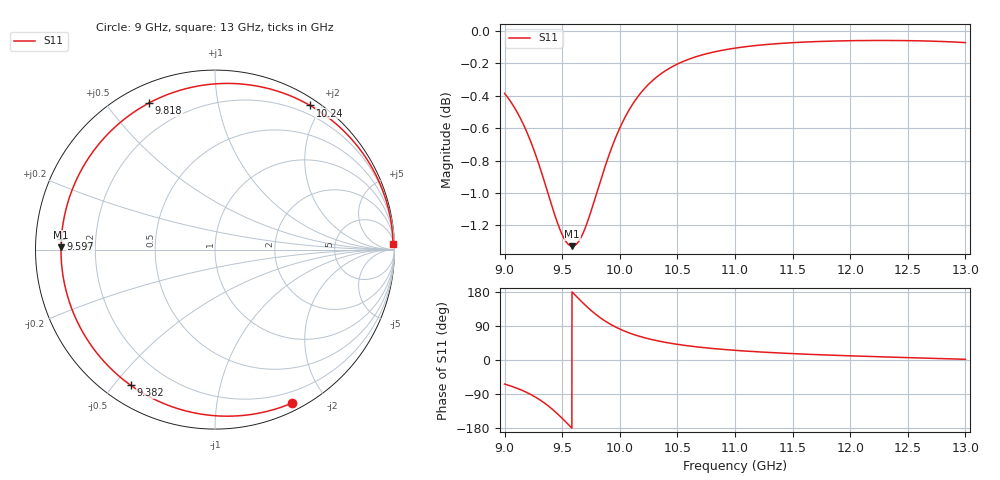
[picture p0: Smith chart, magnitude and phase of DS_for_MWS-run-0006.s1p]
! TOUCHSTONE file generated by CST DESIGN STUDIO
! Date and time: Tue Feb  4 17:15:59 2025
! Project name: C:\Work\MatlabApps\UnitCellOptimizationMatlab\CST\unitcell.cst
! Tree item: Tasks\Sweep1\SPara1\S-Parameters
! Header version: 2024
! Port assignment regex: !\s*Touchstone port\s*([0-9]+)\s*=\s*(CST MWS port|CST DES external port|CST DES block port)\s*(.+)\s* \(\"(.*)\"\)(\s*mode\s*([0-9]+))?.*
! Touchstone port assignment:
! Touchstone port 1 = CST DES external port 1 ("")
# GHz S MA R 50
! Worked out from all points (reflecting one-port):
!   4001 points, 9 GHz to 13 GHz, reference 50 ohm
!   lowest |S11| = -1.3 dB at 9.587 GHz (marker M1), VSWR 13.11, Z = 3.81 + j0.353 ohm
!   phase of S11 starts at -64 deg and turns -295 deg over the sweep
!   S11 on the Smith chart (normalised r, x): 9 GHz: 0.08, -1.61; 9.382 GHz: 0.08, -0.55; 9.597 GHz: 0.08, +0.03; 9.818 GHz: 0.08, +0.64; 10.24 GHz: 0.09, +1.86; 13 GHz: 16, +59
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9  0.9566 -63.5
9.046  0.9517 -67.9
9.114  0.9431 -75.3
9.231  0.9236 -91.7
9.311  0.9065 -106.2
9.382  0.8898 -121.9
9.44  0.8765 -136.7
9.5  0.8652 -153.9
9.544  0.86 -167.3
9.587  0.8582 179.2
9.597  0.8583 176.0
9.653  0.8623 158.6
9.715  0.8723 140.4
9.766  0.8834 126.8
9.818  0.8956 114.3
9.858  0.9049 105.7
9.901  0.9145 97.5
10  0.9333 81.7
10.115  0.9497 67.9
10.242  0.9622 56.6
10.362  0.9703 48.5
10.5  0.9767 41.3
10.72  0.9832 32.9
11  0.9878 25.5
11.5  0.9916 16.8
12  0.993 11.0
12.5  0.9931 6.3
13  0.9917 1.8
